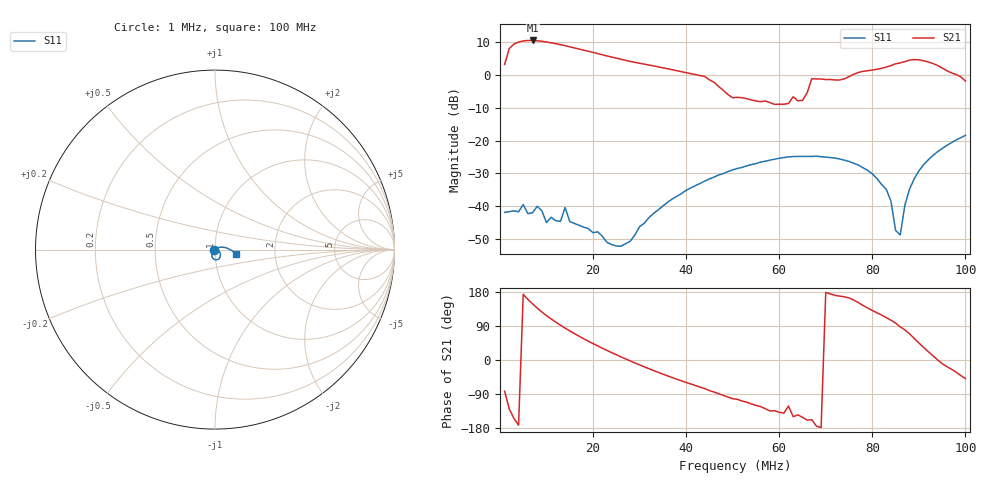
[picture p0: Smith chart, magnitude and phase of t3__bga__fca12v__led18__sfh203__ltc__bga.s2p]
# HZ S RI R 50
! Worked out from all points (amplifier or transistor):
!   100 points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, 1 MHz to 100 MHz, reference 50 ohm
!   highest |S21| = 10.6 dB at 7 MHz (marker M1)
!   |S21| within 3 dB of that: 1.894 MHz to 18.07 MHz (16.18 MHz wide, 162 % of centre)
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1000001  -0.00795 -5.4e-05  0.1973 -1.445  0 0  0 0
2000001  -0.00815 0.000388  -1.611 -1.978  0 0  0 0
3000001  -0.0084 0.000196  -2.684 -1.307  0 0  0 0
5000001  -0.0102 -0.00237  -3.313 0.3976  0 0  0 0
7000001  -0.00776 0.00121  -2.881 1.799  0 0  0 0
9000001  -0.00769 0.00343  -1.976 2.641  0 0  0 0
1.1e7  -0.0063 0.00229  -0.9845 2.968  0 0  0 0
1.4e7  -0.00693 0.00641  0.2897 2.815  0 0  0 0
1.8e7  -0.00439 0.00173  1.347 2  0 0  0 0
2.4e7  -0.00114 0.00229  1.786 0.6328  0 0  0 0
3.4e7  0.00859 0.00127  1.13 -0.7215  0 0  0 0
4.4e7  0.0224 -0.0086  0.2403 -0.923  0 0  0 0
5.1e7  0.0296 -0.0228  -0.1097 -0.4444  0 0  0 0
6.2e7  0.0216 -0.0519  -0.1926 -0.3149  0 0  0 0
6.7e7  0.00758 -0.0565  -0.8144 -0.3369  0 0  0 0
7.7e7  -0.0164 -0.0388  -0.9654 0.5239  0 0  0 0
8.4e7  -0.00864 -0.00825  -0.3627 1.352  0 0  0 0
8.6e7  0.00194 0.00302  0.0718 1.54  0 0  0 0
8.9e7  0.0229 0.0121  0.942 1.453  0 0  0 0
9.2e7  0.0489 0.0127  1.474 0.6041  0 0  0 0
9.5e7  0.0753 0.00462  1.271 -0.2101  0 0  0 0
1e8  0.117 -0.0266  0.5337 -0.6138  0 0  0 0
